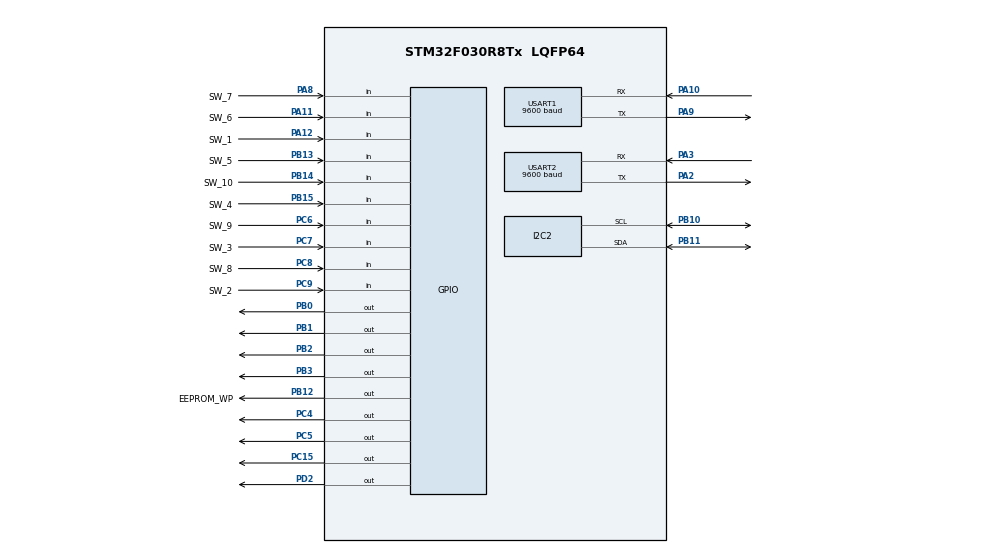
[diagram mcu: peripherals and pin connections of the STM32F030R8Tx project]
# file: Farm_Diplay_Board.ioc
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Mcu.Family=STM32F0
Mcu.Name=STM32F030R8Tx
Mcu.Package=LQFP64
NVIC.TIM17_IRQn=true\:0\:0\:false\:false\:true\:true\:true\:true
NVIC.TIM6_IRQn=true\:0\:0\:false\:false\:true\:true\:true\:true
NVIC.USART1_IRQn=true\:0\:0\:false\:false\:true\:true\:true\:true
NVIC.USART2_IRQn=true\:0\:0\:false\:false\:true\:true\:true\:true
PA10.Mode=Asynchronous
PA10.Signal=USART1_RX
PA11.GPIO_Label=SW_6
PA11.Signal=GPIO_Input
PA12.GPIO_Label=SW_1
PA12.Signal=GPIO_Input
PA2.Mode=Asynchronous
PA2.Signal=USART2_TX
PA3.Mode=Asynchronous
PA3.Signal=USART2_RX
PA8.GPIO_Label=SW_7
PA8.Signal=GPIO_Input
PA9.Mode=Asynchronous
PA9.Signal=USART1_TX
PB0.Signal=GPIO_Output
PB1.Signal=GPIO_Output
PB10.Mode=I2C
PB10.Signal=I2C2_SCL
PB11.Mode=I2C
PB11.Signal=I2C2_SDA
PB12.GPIO_Label=EEPROM_WP
PB12.PinState=GPIO_PIN_SET
PB12.Signal=GPIO_Output
PB13.GPIO_Label=SW_5
PB13.Signal=GPIO_Input
PB14.GPIO_Label=SW_10
PB14.Signal=GPIO_Input
PB15.GPIO_Label=SW_4
PB15.Signal=GPIO_Input
PB2.Signal=GPIO_Output
PB3.Signal=GPIO_Output
PC15-OSC32_OUT.Signal=GPIO_Output
PC4.Signal=GPIO_Output
PC5.Signal=GPIO_Output
PC6.GPIO_Label=SW_9
PC6.Signal=GPIO_Input
PC7.GPIO_Label=SW_3
PC7.Signal=GPIO_Input
PC8.GPIO_Label=SW_8
PC8.Signal=GPIO_Input
PC9.GPIO_Label=SW_2
PC9.Signal=GPIO_Input
PD2.Signal=GPIO_Output
ProjectManager.HeapSize=0x200
ProjectManager.StackSize=0x400
ProjectManager.TargetToolchain=STM32CubeIDE
TIM17.Prescaler=8000-1
TIM6.Period=7500
TIM6.Prescaler=64000-1
USART1.BaudRate=9600
USART1.DataInvertParam=ADVFEATURE_DATAINV_DISABLE
USART1.TxPinLevelInvertParam=ADVFEATURE_TXINV_DISABLE
USART1.VirtualMode-Asynchronous=VM_ASYNC
USART2.BaudRate=9600
USART2.VirtualMode-Asynchronous=VM_ASYNC
VP_TIM17_VS_ClockSourceINT.Mode=Enable_Timer
VP_TIM6_VS_ClockSourceINT.Mode=Enable_Timer
board=custom

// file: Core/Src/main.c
/* USER CODE BEGIN Header */
/**
 ******************************************************************************
 * @file           : main.c
 * @brief          : Main program body
 ******************************************************************************
 * @attention
 *
 * Copyright (c) 2026 STMicroelectronics.
 * All rights reserved.
 *
 * This software is licensed under terms that can be found in the LICENSE file
 * in the root directory of this software component.
 * If no LICENSE file comes with this software, it is provided AS-IS.
 *
 ******************************************************************************
 */
/* USER CODE END Header */
#include "main.h"

/* USER CODE BEGIN Includes */
#include "string.h"
#include "SWCHES_Interface.h"
#include "CLCD_Interface.h"
#include "DS1308_Interface.h"
#include "EEPROM_Interface.h"
#include "Service_Interface.h"
#include "Bloutoth_Interface.h"

//#define "BIT_MATH.h

#include "SERVICE.h"
#include "ErrType.h"

/* USER CODE END Includes */

/* USER CODE BEGIN PTD */
extern uint16_t	Data_Clock[10];
extern uint32_t watchdogtimer;
uint8_t buffer[3] ;
uint8_t b[32];
extern uint8_t G_u8ComingFlag ;

extern uint8_t G_u8FlagState ;

extern Time_t G_TimeElapsedForSpecficUser ;
extern uint32_t watchdogtimer;

Time_t G_TimeStart;

uint8_t G_u8flagAddress ;

/* USER CODE END PTD */

/* USER CODE BEGIN PD */
uint8_t Global_u8UserNumber = 0;

uint8_t u8_RunAthintication(uint8_t Copy_u8UserNumber );

uint8_t u8_StopPumpOrNo(void);

/* USER CODE END PD */

I2C_HandleTypeDef hi2c2;

TIM_HandleTypeDef htim6;
TIM_HandleTypeDef htim17;

UART_HandleTypeDef huart1;
UART_HandleTypeDef huart2;

void SystemClock_Config(void);
static void MX_GPIO_Init(void);
static void MX_I2C2_Init(void);
static void MX_USART1_UART_Init(void);
static void MX_TIM6_Init(void);
static void MX_USART2_UART_Init(void);
static void MX_TIM17_Init(void);

/* USER CODE BEGIN 0 */
const char *Global_WeekDays[8] =
{
		"",
		"Mon",
		"Tue",
		"Wed",
		"Thu",
		"Fri",
		"Sat",
		"Sun"
};

const char *UserNames[8] = {
		"Ayman",
		"Sherif",
		"Mahmoud",
		"Basem",
		"Sayed",
		"Safwat",
		"Alaa",
		"Ahmed"
};

//const uint8_t Local_u8UsersPassWrodesArrx[8][4]={
//			"1111","2222","3333","4444","5555","6666","7777","8888"
//	};

extern uint8_t Global_u8ReciveArrBuff[UART_RX_SIZE_BUFFER];
/* USER CODE END 0 */

int main(void)
{

	/* MCU Configuration--------------------------------------------------------*/

	/* Reset of all peripherals, Initializes the Flash interface and the Systick. */
	HAL_Init();

	/* Configure the system clock */
	SystemClock_Config();

	/* Initialize all configured peripherals */
	MX_GPIO_Init();
	MX_I2C2_Init();
	MX_USART1_UART_Init();
	MX_TIM6_Init();
	MX_USART2_UART_Init();
	MX_TIM17_Init();
	/* USER CODE BEGIN 2 */

	//  MX_USART1_UART_Init();
	//  MX_USART1_UART_Init();

	//HAL_NVIC_SystemReset();

	HAL_UART_Receive_IT(&huart1, (uint8_t *)buffer, 3);

	HAL_UART_Receive_IT(&huart2, Global_u8ReciveArrBuff, UART_RX_SIZE_BUFFER) ;// Enable UART reception with interrupt
	CLCD_voidInit();
	DS1308_Init();                               /* Initialize DS1307 RTC */
	CLCD_voidSendCmd(1);                         // Clear LCD
	CLCD_voidGoToXY(0,0);                        // Set cursor to first row, first column
	CLCD_u8SendString(" Sigma Engineering");     // Display on LCD
	CLCD_voidGoToXY(0,1);                        // Set cursor to second row, first column
	CLCD_u8SendString("Smart Irrigation Sys");   // Display on LCD
	CLCD_voidGoToXY(0,2);                        // Set cursor to third row, first column
	CLCD_u8SendString("Designed by: ");          // Display on LCD
	CLCD_voidGoToXY(0,3);                        // Set cursor to fourth row, first column
	CLCD_u8SendString("   Sigma R&D Team");      // Display on LCD
	HAL_Delay(5000);
	// Wait for 60 seconds
	CLCD_voidSendCmd(1);                         // Clear LCD
	//CLCD_voidSendCmd(1);                         // Clear LCD
	//EEPROM_voidErase();

	uint8_t Local_u8CurrentStat[50];
	EEPROM_voidReadBuffer((uint8_t*)Local_u8CurrentStat , 0, 50);
	//	 	Day_rtc = 14 ;
	//	 	Month_rtc = 6 ;
	//	 	Hour12_rtc = 10 ;
	//		Minute_rtc = 25 ;((uint8_t*)&G_u8flagAddress , DAY_FLAG, 1);
	//	 	WeekDays_rtc = 2 ;
	//		Second_rtc = 20 ;
	//
	//   Date_rtc = 14;
	//	  	Year_rtc = 26  ;
	//	 	AM_PM_rtc = 0 ;
	//EEPROM_voidErase();

	//EEPROM_voidReadBuffer(b, 0, 32);

	SW_State_t Local_u8SWState = NO_SW_PRESSED;

	//uint8_t lbuff[32]={0};
	uint64_t Local_u64CurrentTime = 0;

	//uint8_t Local_u8DayNumber ;

	DS1308_GetCurrentDate();
	DS1308_GetCurrentTime();

	//EEPROM_voidWriteBuffer((uint8_t*)&Day_rtc, DAY_ADDRESS, 1);
	//Local_u8DayNumber = Day_rtc ;

	//Time_t Local_CurrentTime;
	//Time_t Local_CurrentElapsedTime ;

	//Time_t t ;
	HAL_UART_Transmit(&huart1,(uint8_t*) "NOK", 3, HAL_MAX_DELAY);
	//DS1308SetDateAndTime();
	/* USER CODE END 2 */

	/* Infinite loop */
	while (1)
	{

		/* USER CODE BEGIN 3 */
		watchdogtimer=0;
		if(HAL_GetTick() - Local_u64CurrentTime >= 1000)
		{
			DS1308_GetCurrentDate();
			DS1308_GetCurrentTime();
			CLCD_voidGoToXY(0, 0);
			CLCD_u8SendString("User NO ");
			CLCD_voidGoToXY(0, 3);
			CLCD_u8SendString("Run Time :");

			if ((Global_u8UserNumber > 0) && (Global_u8UserNumber < 9)) //User X Works
			{
//				CLCD_voidGoToXY(8, 0);
//				CLCD_voidSendNumber(Global_u8UserNumber);
//				CLCD_voidGoToXY(10, 0);
//				CLCD_u8SendString(UserNames[Global_u8UserNumber - 1]);

				CLCD_voidGoToXY(8, 0);
				CLCD_u8SendString("( )"); //8 9 10
				CLCD_voidGoToXY(9, 0);
				CLCD_voidSendNumber(Global_u8UserNumber);
				CLCD_voidGoToXY(12, 0);
				CLCD_u8SendString(UserNames[Global_u8UserNumber - 1]);

				//===========================

				CLCD_voidGoToXY(10, 3);
				CLCD_u8SendString("          ");
				CLCD_voidGoToXY(10, 3);

				CLCD_voidSendNumber(G_TimeElapsedForSpecficUser.Hours);
				CLCD_u8SendString(":");
				CLCD_voidSendNumber(G_TimeElapsedForSpecficUser.Minutes);
				CLCD_u8SendString(":");
				CLCD_voidSendNumber(Second_rtc);

			}
			else
			{
				CLCD_voidGoToXY(9, 0);
				CLCD_u8SendString("N/A");
				//================================

				CLCD_voidGoToXY(10, 3);
				CLCD_u8SendString("00:00:00");

			}

			CLCD_voidGoToXY(4, 1);
			CLCD_u8SendString("Time:         ");

			CLCD_voidGoToXY(10, 1);
			CLCD_voidSendNumber(Hour12_rtc);
			CLCD_voidSendData(':');
			// CLCD_voidGoToXY(12, 1);
			CLCD_voidSendNumber(Minute_rtc);
			CLCD_voidSendData(':');
			// CLCD_voidGoToXY(15, 1);
			//CLCD_voidSendData('  ');
			//CLCD_u8SendString("  ");   // Clear previous seconds value
			//CLCD_voidGoToXY(15, 1);// Move cursor back to seconds position
			CLCD_voidSendNumber(Second_rtc);

			CLCD_voidGoToXY(0, 2);
			CLCD_u8SendString("Date: ");
			//CLCD_voidGoToXY(6, 2);
			CLCD_voidSendNumber(Day_rtc);
			CLCD_voidSendData('/');
			//CLCD_voidGoToXY(9, 2);
			CLCD_voidSendNumber(Month_rtc);
			CLCD_voidSendData('/');
			// CLCD_voidGoToXY(11, 2);
			CLCD_voidSendNumber(Year_rtc + 2000);
			//			CLCD_voidGoToXY(17, 2);
			//
			//			CLCD_u8SendString(Global_WeekDays[WeekDays_rtc]);

			Local_u64CurrentTime = HAL_GetTick();
		}

		Local_u8SWState = SWCHES_u8GetSwitchState();

		if((Local_u8SWState > SW_1_PRESSED) && (Local_u8SWState < SW_10_PRESSED))
		{
			if (Global_u8UserNumber == 0)
			{
				if(u8_RunAthintication((uint8_t)Local_u8SWState) == OK)
				{
					Global_u8UserNumber =(uint8_t)Local_u8SWState ;
					Local_u64CurrentTime +=1000;
					G_TimeStart.Hours = Hour12_rtc ;
					G_TimeStart.Minutes =  Minute_rtc ;
					HAL_UART_Transmit(&huart1,(uint8_t*) "OK_", 3, HAL_MAX_DELAY);
					//				HAL_UART_Transmit_IT(&huart1, (uint8_t*) "OK_", 3);
					//				HAL_UART_Transmit(&huart1,(uint8_t*) "OK_", 3, HAL_MAX_DELAY);
				}

			}

		}
		else if(Local_u8SWState == SW_1_PRESSED)
		{
			if (Global_u8UserNumber != 0)
			{
				if (u8_StopPumpOrNo() == (uint8_t)OK)
				{
					Global_u8UserNumber = 0;
					Local_u64CurrentTime += 1000;
					HAL_UART_Transmit(&huart1,(uint8_t*) "NOK", 3, HAL_MAX_DELAY);
				}
			}
			//HAL_UART_Transmit_IT(&huart1, (uint8_t*) "NOK", 3);
		}

		//void_HandleEEpromData();
		void_HandleDataFarmUsers();

		SytemComunication_voidBluetoothCommProcessFrame();
	}
	/* USER CODE END 3 */
}

void SystemClock_Config(void)
{
	RCC_OscInitTypeDef RCC_OscInitStruct = {0};
	RCC_ClkInitTypeDef RCC_ClkInitStruct = {0};
	RCC_PeriphCLKInitTypeDef PeriphClkInit = {0};

	/** Initializes the RCC Oscillators according to the specified parameters
	 * in the RCC_OscInitTypeDef structure.
	 */
	RCC_OscInitStruct.OscillatorType = RCC_OSCILLATORTYPE_HSI;
	RCC_OscInitStruct.HSIState = RCC_HSI_ON;
	RCC_OscInitStruct.HSICalibrationValue = RCC_HSICALIBRATION_DEFAULT;
	RCC_OscInitStruct.PLL.PLLState = RCC_PLL_NONE;
	if (HAL_RCC_OscConfig(&RCC_OscInitStruct) != HAL_OK)
	{
		Error_Handler();
	}

	/** Initializes the CPU, AHB and APB buses clocks
	 */
	RCC_ClkInitStruct.ClockType = RCC_CLOCKTYPE_HCLK|RCC_CLOCKTYPE_SYSCLK
			|RCC_CLOCKTYPE_PCLK1;
	RCC_ClkInitStruct.SYSCLKSource = RCC_SYSCLKSOURCE_HSI;
	RCC_ClkInitStruct.AHBCLKDivider = RCC_SYSCLK_DIV1;
	RCC_ClkInitStruct.APB1CLKDivider = RCC_HCLK_DIV1;

	if (HAL_RCC_ClockConfig(&RCC_ClkInitStruct, FLASH_LATENCY_0) != HAL_OK)
	{
		Error_Handler();
	}
	PeriphClkInit.PeriphClockSelection = RCC_PERIPHCLK_USART1;
	PeriphClkInit.Usart1ClockSelection = RCC_USART1CLKSOURCE_PCLK1;
	if (HAL_RCCEx_PeriphCLKConfig(&PeriphClkInit) != HAL_OK)
	{
		Error_Handler();
	}
}

static void MX_I2C2_Init(void)
{

	hi2c2.Instance = I2C2;
	hi2c2.Init.Timing = 0x2000090E;
	hi2c2.Init.OwnAddress1 = 0;
	hi2c2.Init.AddressingMode = I2C_ADDRESSINGMODE_7BIT;
	hi2c2.Init.DualAddressMode = I2C_DUALADDRESS_DISABLE;
	hi2c2.Init.OwnAddress2 = 0;
	hi2c2.Init.OwnAddress2Masks = I2C_OA2_NOMASK;
	hi2c2.Init.GeneralCallMode = I2C_GENERALCALL_DISABLE;
	hi2c2.Init.NoStretchMode = I2C_NOSTRETCH_DISABLE;
	if (HAL_I2C_Init(&hi2c2) != HAL_OK)
	{
		Error_Handler();
	}

	/** Configure Analogue filter
	 */
	if (HAL_I2CEx_ConfigAnalogFilter(&hi2c2, I2C_ANALOGFILTER_ENABLE) != HAL_OK)
	{
		Error_Handler();
	}

	/** Configure Digital filter
	 */
	if (HAL_I2CEx_ConfigDigitalFilter(&hi2c2, 0) != HAL_OK)
	{
		Error_Handler();
	}

}

static void MX_TIM6_Init(void)
{

	htim6.Instance = TIM6;
	htim6.Init.Prescaler = 64000-1;
	htim6.Init.CounterMode = TIM_COUNTERMODE_UP;
	htim6.Init.Period = 7500;
	htim6.Init.AutoReloadPreload = TIM_AUTORELOAD_PRELOAD_DISABLE;
	if (HAL_TIM_Base_Init(&htim6) != HAL_OK)
	{
		Error_Handler();
	}

}

static void MX_TIM17_Init(void)
{

	htim17.Instance = TIM17;
	htim17.Init.Prescaler = 8000-1;
	htim17.Init.CounterMode = TIM_COUNTERMODE_UP;
	htim17.Init.Period = 65535;
	htim17.Init.ClockDivision = TIM_CLOCKDIVISION_DIV1;
	htim17.Init.RepetitionCounter = 0;
	htim17.Init.AutoReloadPreload = TIM_AUTORELOAD_PRELOAD_DISABLE;
	if (HAL_TIM_Base_Init(&htim17) != HAL_OK)
	{
		Error_Handler();
	}

}

static void MX_USART1_UART_Init(void)
{

	huart1.Instance = USART1;
	huart1.Init.BaudRate = 9600;
	huart1.Init.WordLength = UART_WORDLENGTH_8B;
	huart1.Init.StopBits = UART_STOPBITS_1;
	huart1.Init.Parity = UART_PARITY_NONE;
	huart1.Init.Mode = UART_MODE_TX_RX;
	huart1.Init.HwFlowCtl = UART_HWCONTROL_NONE;
	huart1.Init.OverSampling = UART_OVERSAMPLING_16;
	huart1.Init.OneBitSampling = UART_ONE_BIT_SAMPLE_DISABLE;
	huart1.AdvancedInit.AdvFeatureInit = UART_ADVFEATURE_NO_INIT;
	if (HAL_UART_Init(&huart1) != HAL_OK)
	{
		Error_Handler();
	}
	/* USER CODE BEGIN USART1_Init 2 */
	HAL_UART_Init(&huart1);
	/* USER CODE END USART1_Init 2 */

}

static void MX_USART2_UART_Init(void)
{

	huart2.Instance = USART2;
	huart2.Init.BaudRate = 9600;
	huart2.Init.WordLength = UART_WORDLENGTH_8B;
	huart2.Init.StopBits = UART_STOPBITS_1;
	huart2.Init.Parity = UART_PARITY_NONE;
	huart2.Init.Mode = UART_MODE_TX_RX;
	huart2.Init.HwFlowCtl = UART_HWCONTROL_NONE;
	huart2.Init.OverSampling = UART_OVERSAMPLING_16;
	huart2.Init.OneBitSampling = UART_ONE_BIT_SAMPLE_DISABLE;
	huart2.AdvancedInit.AdvFeatureInit = UART_ADVFEATURE_NO_INIT;
	if (HAL_UART_Init(&huart2) != HAL_OK)
	{
		Error_Handler();
	}

}

static void MX_GPIO_Init(void)
{
	GPIO_InitTypeDef GPIO_InitStruct = {0};

	/* GPIO Ports Clock Enable */
	__HAL_RCC_GPIOC_CLK_ENABLE();
	__HAL_RCC_GPIOA_CLK_ENABLE();
	__HAL_RCC_GPIOB_CLK_ENABLE();
	__HAL_RCC_GPIOD_CLK_ENABLE();

	/*Configure GPIO pin Output Level */
	HAL_GPIO_WritePin(GPIOC, GPIO_PIN_15|GPIO_PIN_4|GPIO_PIN_5, GPIO_PIN_RESET);

	/*Configure GPIO pin Output Level */
	HAL_GPIO_WritePin(GPIOB, GPIO_PIN_0|GPIO_PIN_1|GPIO_PIN_2|GPIO_PIN_3, GPIO_PIN_RESET);

	/*Configure GPIO pin Output Level */
	HAL_GPIO_WritePin(EEPROM_WP_GPIO_Port, EEPROM_WP_Pin, GPIO_PIN_SET);

	/*Configure GPIO pin Output Level */
	HAL_GPIO_WritePin(GPIOD, GPIO_PIN_2, GPIO_PIN_RESET);

	/*Configure GPIO pins : PC15 PC4 PC5 */
	GPIO_InitStruct.Pin = GPIO_PIN_15|GPIO_PIN_4|GPIO_PIN_5;
	GPIO_InitStruct.Mode = GPIO_MODE_OUTPUT_PP;
	GPIO_InitStruct.Pull = GPIO_NOPULL;
	GPIO_InitStruct.Speed = GPIO_SPEED_FREQ_LOW;
	HAL_GPIO_Init(GPIOC, &GPIO_InitStruct);

	/*Configure GPIO pins : PB0 PB1 PB2 EEPROM_WP_Pin
                           PB3 */
	GPIO_InitStruct.Pin = GPIO_PIN_0|GPIO_PIN_1|GPIO_PIN_2|EEPROM_WP_Pin
			|GPIO_PIN_3;
	GPIO_InitStruct.Mode = GPIO_MODE_OUTPUT_PP;
	GPIO_InitStruct.Pull = GPIO_NOPULL;
	GPIO_InitStruct.Speed = GPIO_SPEED_FREQ_LOW;
	HAL_GPIO_Init(GPIOB, &GPIO_InitStruct);

	/*Configure GPIO pins : SW_5_Pin SW_10_Pin SW_4_Pin */
	GPIO_InitStruct.Pin = SW_5_Pin|SW_10_Pin|SW_4_Pin;
	GPIO_InitStruct.Mode = GPIO_MODE_INPUT;
	GPIO_InitStruct.Pull = GPIO_NOPULL;
	HAL_GPIO_Init(GPIOB, &GPIO_InitStruct);

	/*Configure GPIO pins : SW_9_Pin SW_3_Pin SW_8_Pin SW_2_Pin */
	GPIO_InitStruct.Pin = SW_9_Pin|SW_3_Pin|SW_8_Pin|SW_2_Pin;
	GPIO_InitStruct.Mode = GPIO_MODE_INPUT;
	GPIO_InitStruct.Pull = GPIO_NOPULL;
	HAL_GPIO_Init(GPIOC, &GPIO_InitStruct);

	/*Configure GPIO pins : SW_7_Pin SW_6_Pin SW_1_Pin */
	GPIO_InitStruct.Pin = SW_7_Pin|SW_6_Pin|SW_1_Pin;
	GPIO_InitStruct.Mode = GPIO_MODE_INPUT;
	GPIO_InitStruct.Pull = GPIO_NOPULL;
	HAL_GPIO_Init(GPIOA, &GPIO_InitStruct);

	/*Configure GPIO pin : PD2 */
	GPIO_InitStruct.Pin = GPIO_PIN_2;
	GPIO_InitStruct.Mode = GPIO_MODE_OUTPUT_PP;
	GPIO_InitStruct.Pull = GPIO_NOPULL;
	GPIO_InitStruct.Speed = GPIO_SPEED_FREQ_LOW;
	HAL_GPIO_Init(GPIOD, &GPIO_InitStruct);

}

/* USER CODE BEGIN 4 */

void HAL_UART_RxCpltCallback(UART_HandleTypeDef *huart)
{
	//uint8_t Local_u8CurrentStat ;
	if(huart == &huart1)
	{
		G_u8ComingFlag =1;
		//		BUZZER_voidHornTimeIT(20);
		if ((memcmp(buffer, "OK_", 3) == 0) &&  (Global_u8UserNumber != 0 )) {
			G_u8FlagState = 1 ;

			//HAL_GPIO_WritePin(GPIOA, GPIO_PIN_12, GPIO_PIN_SET); // Set PA12 high
			//Local_u8CurrentStat = 1 ;
			//EEPROM_voidWriteBuffer( (uint8_t*) &Global_u8UserNumber,ACTIVE_USER_NUMBER_ADDRESS, 2);
			//EEPROM_voidReadBuffer(&Local_u8CurrentStat ,RUNING_FLAG_ADDRESS, 1);
			//HAL_TIM_Base_Start_IT(&htim6);

		} else {
			G_u8FlagState = 2 ;
			//HAL_GPIO_WritePin(GPIOA, GPIO_PIN_12, GPIO_PIN_RESET); // Set PA12 low

			//Local_u8CurrentStat  = 0 ;
			//EEPROM_voidWriteBuffer( &Local_u8CurrentStat,ACTIVE_USER_NUMBER_ADDRESS, 1);
			//EEPROM_voidReadBuffer(&Local_u8CurrentStat ,RUNING_FLAG_ADDRESS, 1);
			//HAL_TIM_Base_Stop_IT(&htim6);
		}
	}
	HAL_UART_Receive_IT(&huart1, (uint8_t *)buffer, 3);
}

uint8_t u8_RunAthintication(uint8_t Copy_u8UserNumber )
{
	//uint8_t Local_u8ErrorStatuse = NOK ;
	uint8_t Local_u8UsersPassWrodesArr[8][4];

	SW_State_t Swich_Stat ;
	uint8_t Local_u8Arr[4]={0};
	uint32_t Local_u32ElabsedTimeMS = HAL_GetTick();
	uint8_t Local_u8StarIterator = 0 ;
	void_ReadUserPasswordFromEEPROM(Copy_u8UserNumber,&(Local_u8UsersPassWrodesArr[Copy_u8UserNumber-1][0]));
	CLCD_voidSendCmd(1);   // Clear LCD
	CLCD_voidGoToXY(1, 0); //
	CLCD_u8SendString("User No ") ;
	CLCD_voidSendNumber(Copy_u8UserNumber);
	CLCD_voidGoToXY(11, 0); //
	CLCD_u8SendString(UserNames[Copy_u8UserNumber-1]) ;
	CLCD_u8SendString(":");

	CLCD_voidGoToXY(0, 1);
	CLCD_u8SendString("Enter Your Password:");

	CLCD_voidGoToXY(4, 2);

	while (HAL_GetTick() - Local_u32ElabsedTimeMS < 60000 )
	{
		Swich_Stat = SWCHES_u8GetSwitchState();

		if (Swich_Stat < NO_SW_PRESSED)
		{

			//		if (Local_u8StarIterator == 0 )
			//		{
			//
			//		}
			Local_u8Arr[Local_u8StarIterator] = (uint8_t)Swich_Stat + '0';
			CLCD_u8SendString("*");
			Local_u8StarIterator++ ;
			Local_u32ElabsedTimeMS = HAL_GetTick();

		}

		if (Local_u8StarIterator >= 4  )
		{
			CLCD_voidSendCmd(1);   // Clear LCD

			if (memcmp(Local_u8Arr , &(Local_u8UsersPassWrodesArr[Copy_u8UserNumber-1][0]),4)== 0)
			{
				return  (uint8_t)OK ;
			}
			else
			{
				return NOK ;
			}

		}

	}

	CLCD_voidSendCmd(1);   // Clear LCD

	return NOK ;

}

uint8_t u8_StopPumpOrNo(void)
{
	SW_State_t Swich_Stat ;

	uint32_t Local_u32ElabsedTimeMS = HAL_GetTick();

	CLCD_voidSendCmd(1);   // Clear LCD
	CLCD_voidGoToXY(2, 0);

	CLCD_u8SendString("Turn Off Pump?");
	CLCD_voidGoToXY(0, 3);

	CLCD_u8SendString("Yes               No");

	while (HAL_GetTick() - Local_u32ElabsedTimeMS < 15000 )
	{
		Swich_Stat = SWCHES_u8GetSwitchState();

		if(Swich_Stat == SW_1_PRESSED)
		{
			CLCD_voidSendCmd(1);   // Clear LCD
			G_u8ComingFlag =1;
			G_u8FlagState = 2 ;
			return (uint8_t)OK ;
		}
		else if ( Swich_Stat <  NO_SW_PRESSED)
		{
			CLCD_voidSendCmd(1);   // Clear LCD
			G_u8ComingFlag =0;
			G_u8FlagState = 0 ;
			return (uint8_t)NOK ;
		}

	}
	CLCD_voidSendCmd(1);   // Clear LCD
	return (uint8_t)NOK ;
}

//void HAL_TIM_PeriodElapsedCallback(TIM_HandleTypeDef *htim)
//{
//	if(htim == &htim6)
//	{
//		HAL_UART_Transmit(&huart1,(uint8_t*)"Tel" , 3, HAL_MAX_DELAY);
//
//	}
//}
/* USER CODE END 4 */

void Error_Handler(void)
{
	__disable_irq();
	while (1)
	{
	}
}
